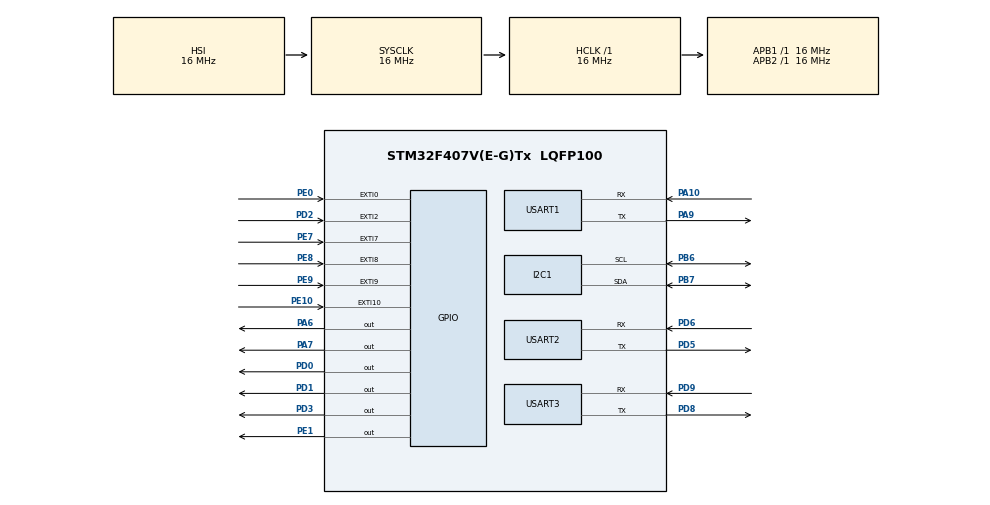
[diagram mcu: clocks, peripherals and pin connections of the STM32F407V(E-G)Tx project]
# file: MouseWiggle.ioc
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Dma.Request0=USART1_RX
Dma.Request1=USART2_RX
Dma.USART1_RX.0.Direction=DMA_PERIPH_TO_MEMORY
Dma.USART1_RX.0.FIFOMode=DMA_FIFOMODE_DISABLE
Dma.USART1_RX.0.Instance=DMA2_Stream2
Dma.USART1_RX.0.MemDataAlignment=DMA_MDATAALIGN_BYTE
Dma.USART1_RX.0.MemInc=DMA_MINC_ENABLE
Dma.USART1_RX.0.Mode=DMA_CIRCULAR
Dma.USART1_RX.0.PeriphDataAlignment=DMA_PDATAALIGN_BYTE
Dma.USART1_RX.0.PeriphInc=DMA_PINC_DISABLE
Dma.USART1_RX.0.Priority=DMA_PRIORITY_HIGH
Dma.USART2_RX.1.Direction=DMA_PERIPH_TO_MEMORY
Dma.USART2_RX.1.FIFOMode=DMA_FIFOMODE_DISABLE
Dma.USART2_RX.1.Instance=DMA1_Stream5
Dma.USART2_RX.1.MemDataAlignment=DMA_MDATAALIGN_BYTE
Dma.USART2_RX.1.MemInc=DMA_MINC_ENABLE
Dma.USART2_RX.1.Mode=DMA_CIRCULAR
Dma.USART2_RX.1.PeriphDataAlignment=DMA_PDATAALIGN_BYTE
Dma.USART2_RX.1.PeriphInc=DMA_PINC_DISABLE
Dma.USART2_RX.1.Priority=DMA_PRIORITY_HIGH
FREERTOS.Tasks01=defaultTask,0,128,StartDefaultTask,Default,NULL,Dynamic,NULL,NULL
FREERTOS.configUSE_NEWLIB_REENTRANT=1
I2C1.I2C_Mode=I2C_Fast
Mcu.Family=STM32F4
Mcu.Name=STM32F407V(E-G)Tx
Mcu.Package=LQFP100
NVIC.DMA1_Stream5_IRQn=true\:5\:0\:false\:false\:true\:true\:false\:true\:true
NVIC.DMA2_Stream2_IRQn=true\:5\:0\:false\:false\:true\:true\:false\:true\:true
NVIC.EXTI0_IRQn=true\:5\:0\:false\:false\:true\:true\:true\:true\:true
NVIC.EXTI15_10_IRQn=true\:5\:0\:false\:false\:true\:true\:true\:true\:true
NVIC.EXTI2_IRQn=true\:5\:0\:false\:false\:true\:true\:true\:true\:true
NVIC.EXTI9_5_IRQn=true\:5\:0\:false\:false\:true\:true\:true\:true\:true
NVIC.PriorityGroup=NVIC_PRIORITYGROUP_4
NVIC.TIM1_UP_TIM10_IRQn=true\:15\:0\:false\:false\:true\:false\:false\:true\:true
NVIC.TimeBase=TIM1_UP_TIM10_IRQn
NVIC.TimeBaseIP=TIM1
NVIC.USART1_IRQn=true\:5\:0\:false\:false\:true\:true\:true\:true\:true
NVIC.USART2_IRQn=true\:5\:0\:false\:false\:true\:true\:true\:true\:true
PA10.Mode=Asynchronous
PA10.Signal=USART1_RX
PA6.Signal=GPIO_Output
PA7.Signal=GPIO_Output
PA9.Mode=Asynchronous
PA9.Signal=USART1_TX
PB6.Mode=I2C
PB6.Signal=I2C1_SCL
PB7.Mode=I2C
PB7.Signal=I2C1_SDA
PD0.Signal=GPIO_Output
PD1.Signal=GPIO_Output
PD2.GPIO_ModeDefaultEXTI=GPIO_MODE_IT_RISING_FALLING
PD2.Signal=GPXTI2
PD3.Signal=GPIO_Output
PD5.Mode=Asynchronous
PD5.Signal=USART2_TX
PD6.Mode=Asynchronous
PD6.Signal=USART2_RX
PD8.Mode=Asynchronous
PD8.Signal=USART3_TX
PD9.Mode=Asynchronous
PD9.Signal=USART3_RX
PE0.GPIO_ModeDefaultEXTI=GPIO_MODE_IT_RISING_FALLING
PE0.Signal=GPXTI0
PE1.Signal=GPIO_Output
PE10.GPIO_ModeDefaultEXTI=GPIO_MODE_IT_RISING_FALLING
PE10.Signal=GPXTI10
PE7.Signal=GPXTI7
PE8.Signal=GPXTI8
PE9.Signal=GPXTI9
ProjectManager.HeapSize=0x200
ProjectManager.StackSize=0x400
ProjectManager.TargetToolchain=STM32CubeIDE
RCC.AHBFreq_Value=16000000
RCC.APB1Freq_Value=16000000
RCC.APB2Freq_Value=16000000
RCC.CortexFreq_Value=16000000
RCC.HSE_VALUE=25000000
RCC.HSI_VALUE=16000000
RCC.LSE_VALUE=32768
RCC.SYSCLKFreq_VALUE=16000000
RCC.VCOOutputFreq_Value=192000000
USART1.VirtualMode=VM_ASYNC
USART2.VirtualMode=VM_ASYNC
USART3.VirtualMode=VM_ASYNC
VP_FREERTOS_VS_CMSIS_V1.Mode=CMSIS_V1
VP_RNG_VS_RNG.Mode=RNG_Activate
VP_SYS_VS_tim1.Mode=TIM1
board=custom

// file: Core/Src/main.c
/* USER CODE BEGIN Header */
/**
  ******************************************************************************
  * @file           : main.c
  * @brief          : Main program body
  ******************************************************************************
  * @attention
  *
  * Copyright (c) 2022 STMicroelectronics.
  * All rights reserved.
  *
  * This software is licensed under terms that can be found in the LICENSE file
  * in the root directory of this software component.
  * If no LICENSE file comes with this software, it is provided AS-IS.
  *
  ******************************************************************************
  */
/* USER CODE END Header */
#include "main.h"
#include "cmsis_os.h"

/* USER CODE BEGIN Includes */
#include <uart.h>
#include <bt_api.h>
#include <stdio.h>
#include <ssd1306.h>
#include <oled_io.h>
#include "tasks.h"
#include "bitmasks.h"
/* USER CODE END Includes */

I2C_HandleTypeDef hi2c1;

RNG_HandleTypeDef hrng;

UART_HandleTypeDef huart1;
UART_HandleTypeDef huart2;
UART_HandleTypeDef huart3;
DMA_HandleTypeDef hdma_usart1_rx;
DMA_HandleTypeDef hdma_usart2_rx;

osThreadId defaultTaskHandle;
/* USER CODE BEGIN PV */

osThreadId wiggleTaskHandle;
osThreadId wiggleTaskUart1Handle;
uint16_t inputSelect = 0;
volatile uint16_t toggle;
InterruptBitMask moduleConnectMask;

//#ifdef __GNUC__
//#define PUTCHAR_PROTOTYPE int __io_putchar(int ch)
//#else
//#define PUTCHAR_PROTOTYPE int fputc(int ch, FILE *f)
//#endif
//
//PUTCHAR_PROTOTYPE
//{
//  HAL_UART_Transmit(&huart2, (uint8_t *)&ch, 1, HAL_MAX_DELAY);
//  return ch;
//}

int __io_putchar(int ch)
{
 // Write character to ITM ch.0
 ITM_SendChar(ch);
 return(ch);
}

/* USER CODE END PV */

void SystemClock_Config(void);
static void MX_GPIO_Init(void);
static void MX_DMA_Init(void);
static void MX_USART1_UART_Init(void);
static void MX_USART2_UART_Init(void);
static void MX_USART3_UART_Init(void);
static void MX_I2C1_Init(void);
static void MX_RNG_Init(void);
void StartDefaultTask(void const * argument);

int main(void)
{

  /* MCU Configuration--------------------------------------------------------*/

  /* Reset of all peripherals, Initializes the Flash interface and the Systick. */
  HAL_Init();

  /* Configure the system clock */
  SystemClock_Config();

  /* Initialize all configured peripherals */
  MX_GPIO_Init();
  MX_DMA_Init();
  MX_USART1_UART_Init();
  MX_USART2_UART_Init();
  MX_USART3_UART_Init();
  MX_I2C1_Init();
  MX_RNG_Init();
  /* USER CODE BEGIN 2 */

    SSD1306_Init();
    SSD1306_Clear();
    print_oled(OLED_DATA, "hello!");

//    NVIC_PriorityGroupConfig( NVIC_PriorityGroup_4 );
  /* USER CODE END 2 */

  /* Create the thread(s) */
  /* definition and creation of defaultTask */
  osThreadDef(defaultTask, StartDefaultTask, osPriorityNormal, 0, 32);
  defaultTaskHandle = osThreadCreate(osThread(defaultTask), NULL);

  /* USER CODE BEGIN RTOS_THREADS */
  /* add threads, ... */
//   osThreadDef(wiggleTask, StartWiggleTask, osPriorityNormal, 1, 2048);
//   wiggleTaskHandle = osThreadCreate(osThread(wiggleTask), NULL);

  osThreadDef(wiggleTaskUart1, WiggleTaskUart1, osPriorityNormal, 1, 2048);
  wiggleTaskUart1Handle = osThreadCreate(osThread(wiggleTaskUart1), NULL);

  /* USER CODE END RTOS_THREADS */

  /* Start scheduler */
  osKernelStart();

  /* We should never get here as control is now taken by the scheduler */
  /* Infinite loop */
  while (1)
  {

  }
}

void SystemClock_Config(void)
{
  RCC_OscInitTypeDef RCC_OscInitStruct = {0};
  RCC_ClkInitTypeDef RCC_ClkInitStruct = {0};

  /** Configure the main internal regulator output voltage
  */
  __HAL_RCC_PWR_CLK_ENABLE();
  __HAL_PWR_VOLTAGESCALING_CONFIG(PWR_REGULATOR_VOLTAGE_SCALE1);

  /** Initializes the RCC Oscillators according to the specified parameters
  * in the RCC_OscInitTypeDef structure.
  */
  RCC_OscInitStruct.OscillatorType = RCC_OSCILLATORTYPE_HSI;
  RCC_OscInitStruct.HSIState = RCC_HSI_ON;
  RCC_OscInitStruct.HSICalibrationValue = RCC_HSICALIBRATION_DEFAULT;
  RCC_OscInitStruct.PLL.PLLState = RCC_PLL_ON;
  RCC_OscInitStruct.PLL.PLLSource = RCC_PLLSOURCE_HSI;
  RCC_OscInitStruct.PLL.PLLM = 16;
  RCC_OscInitStruct.PLL.PLLN = 192;
  RCC_OscInitStruct.PLL.PLLP = RCC_PLLP_DIV2;
  RCC_OscInitStruct.PLL.PLLQ = 4;
  if (HAL_RCC_OscConfig(&RCC_OscInitStruct) != HAL_OK)
  {
    Error_Handler();
  }

  /** Initializes the CPU, AHB and APB buses clocks
  */
  RCC_ClkInitStruct.ClockType = RCC_CLOCKTYPE_HCLK|RCC_CLOCKTYPE_SYSCLK
                              |RCC_CLOCKTYPE_PCLK1|RCC_CLOCKTYPE_PCLK2;
  RCC_ClkInitStruct.SYSCLKSource = RCC_SYSCLKSOURCE_HSI;
  RCC_ClkInitStruct.AHBCLKDivider = RCC_SYSCLK_DIV1;
  RCC_ClkInitStruct.APB1CLKDivider = RCC_HCLK_DIV1;
  RCC_ClkInitStruct.APB2CLKDivider = RCC_HCLK_DIV1;

  if (HAL_RCC_ClockConfig(&RCC_ClkInitStruct, FLASH_LATENCY_0) != HAL_OK)
  {
    Error_Handler();
  }
}

static void MX_I2C1_Init(void)
{

  hi2c1.Instance = I2C1;
  hi2c1.Init.ClockSpeed = 400000;
  hi2c1.Init.DutyCycle = I2C_DUTYCYCLE_2;
  hi2c1.Init.OwnAddress1 = 0;
  hi2c1.Init.AddressingMode = I2C_ADDRESSINGMODE_7BIT;
  hi2c1.Init.DualAddressMode = I2C_DUALADDRESS_DISABLE;
  hi2c1.Init.OwnAddress2 = 0;
  hi2c1.Init.GeneralCallMode = I2C_GENERALCALL_DISABLE;
  hi2c1.Init.NoStretchMode = I2C_NOSTRETCH_DISABLE;
  if (HAL_I2C_Init(&hi2c1) != HAL_OK)
  {
    Error_Handler();
  }

}

static void MX_RNG_Init(void)
{

  hrng.Instance = RNG;
  if (HAL_RNG_Init(&hrng) != HAL_OK)
  {
    Error_Handler();
  }

}

static void MX_USART1_UART_Init(void)
{

  huart1.Instance = USART1;
  huart1.Init.BaudRate = 115200;
  huart1.Init.WordLength = UART_WORDLENGTH_8B;
  huart1.Init.StopBits = UART_STOPBITS_1;
  huart1.Init.Parity = UART_PARITY_NONE;
  huart1.Init.Mode = UART_MODE_TX_RX;
  huart1.Init.HwFlowCtl = UART_HWCONTROL_NONE;
  huart1.Init.OverSampling = UART_OVERSAMPLING_16;
  if (HAL_UART_Init(&huart1) != HAL_OK)
  {
    Error_Handler();
  }

}

static void MX_USART2_UART_Init(void)
{

  huart2.Instance = USART2;
  huart2.Init.BaudRate = 115200;
  huart2.Init.WordLength = UART_WORDLENGTH_8B;
  huart2.Init.StopBits = UART_STOPBITS_1;
  huart2.Init.Parity = UART_PARITY_NONE;
  huart2.Init.Mode = UART_MODE_TX_RX;
  huart2.Init.HwFlowCtl = UART_HWCONTROL_NONE;
  huart2.Init.OverSampling = UART_OVERSAMPLING_16;
  if (HAL_UART_Init(&huart2) != HAL_OK)
  {
    Error_Handler();
  }

}

static void MX_USART3_UART_Init(void)
{

  huart3.Instance = USART3;
  huart3.Init.BaudRate = 115200;
  huart3.Init.WordLength = UART_WORDLENGTH_8B;
  huart3.Init.StopBits = UART_STOPBITS_1;
  huart3.Init.Parity = UART_PARITY_NONE;
  huart3.Init.Mode = UART_MODE_TX_RX;
  huart3.Init.HwFlowCtl = UART_HWCONTROL_NONE;
  huart3.Init.OverSampling = UART_OVERSAMPLING_16;
  if (HAL_UART_Init(&huart3) != HAL_OK)
  {
    Error_Handler();
  }

}

static void MX_DMA_Init(void)
{

  /* DMA controller clock enable */
  __HAL_RCC_DMA2_CLK_ENABLE();
  __HAL_RCC_DMA1_CLK_ENABLE();

  /* DMA interrupt init */
  /* DMA1_Stream5_IRQn interrupt configuration */
  HAL_NVIC_SetPriority(DMA1_Stream5_IRQn, 5, 0);
  HAL_NVIC_EnableIRQ(DMA1_Stream5_IRQn);
  /* DMA2_Stream2_IRQn interrupt configuration */
  HAL_NVIC_SetPriority(DMA2_Stream2_IRQn, 5, 0);
  HAL_NVIC_EnableIRQ(DMA2_Stream2_IRQn);

}

static void MX_GPIO_Init(void)
{
  GPIO_InitTypeDef GPIO_InitStruct = {0};

  /* GPIO Ports Clock Enable */
  __HAL_RCC_GPIOA_CLK_ENABLE();
  __HAL_RCC_GPIOE_CLK_ENABLE();
  __HAL_RCC_GPIOD_CLK_ENABLE();
  __HAL_RCC_GPIOB_CLK_ENABLE();

  /*Configure GPIO pin Output Level */
  HAL_GPIO_WritePin(GPIOA, GPIO_PIN_6|GPIO_PIN_7, GPIO_PIN_RESET);

  /*Configure GPIO pin Output Level */
  HAL_GPIO_WritePin(GPIOD, GPIO_PIN_0|GPIO_PIN_1|GPIO_PIN_3, GPIO_PIN_RESET);

  /*Configure GPIO pin Output Level */
  HAL_GPIO_WritePin(GPIOE, GPIO_PIN_1, GPIO_PIN_RESET);

  /*Configure GPIO pins : PA6 PA7 */
  GPIO_InitStruct.Pin = GPIO_PIN_6|GPIO_PIN_7;
  GPIO_InitStruct.Mode = GPIO_MODE_OUTPUT_PP;
  GPIO_InitStruct.Pull = GPIO_NOPULL;
  GPIO_InitStruct.Speed = GPIO_SPEED_FREQ_LOW;
  HAL_GPIO_Init(GPIOA, &GPIO_InitStruct);

  /*Configure GPIO pins : PE7 PE8 PE9 */
  GPIO_InitStruct.Pin = GPIO_PIN_7|GPIO_PIN_8|GPIO_PIN_9;
  GPIO_InitStruct.Mode = GPIO_MODE_IT_RISING;
  GPIO_InitStruct.Pull = GPIO_NOPULL;
  HAL_GPIO_Init(GPIOE, &GPIO_InitStruct);

  /*Configure GPIO pins : PE10 PE0 */
  GPIO_InitStruct.Pin = GPIO_PIN_10|GPIO_PIN_0;
  GPIO_InitStruct.Mode = GPIO_MODE_IT_RISING_FALLING;
  GPIO_InitStruct.Pull = GPIO_NOPULL;
  HAL_GPIO_Init(GPIOE, &GPIO_InitStruct);

  /*Configure GPIO pins : PD0 PD1 PD3 */
  GPIO_InitStruct.Pin = GPIO_PIN_0|GPIO_PIN_1|GPIO_PIN_3;
  GPIO_InitStruct.Mode = GPIO_MODE_OUTPUT_PP;
  GPIO_InitStruct.Pull = GPIO_NOPULL;
  GPIO_InitStruct.Speed = GPIO_SPEED_FREQ_LOW;
  HAL_GPIO_Init(GPIOD, &GPIO_InitStruct);

  /*Configure GPIO pin : PD2 */
  GPIO_InitStruct.Pin = GPIO_PIN_2;
  GPIO_InitStruct.Mode = GPIO_MODE_IT_RISING_FALLING;
  GPIO_InitStruct.Pull = GPIO_NOPULL;
  HAL_GPIO_Init(GPIOD, &GPIO_InitStruct);

  /*Configure GPIO pin : PE1 */
  GPIO_InitStruct.Pin = GPIO_PIN_1;
  GPIO_InitStruct.Mode = GPIO_MODE_OUTPUT_PP;
  GPIO_InitStruct.Pull = GPIO_NOPULL;
  GPIO_InitStruct.Speed = GPIO_SPEED_FREQ_LOW;
  HAL_GPIO_Init(GPIOE, &GPIO_InitStruct);

  /* EXTI interrupt init*/
  HAL_NVIC_SetPriority(EXTI0_IRQn, 5, 0);
  HAL_NVIC_EnableIRQ(EXTI0_IRQn);

  HAL_NVIC_SetPriority(EXTI2_IRQn, 5, 0);
  HAL_NVIC_EnableIRQ(EXTI2_IRQn);

  HAL_NVIC_SetPriority(EXTI9_5_IRQn, 5, 0);
  HAL_NVIC_EnableIRQ(EXTI9_5_IRQn);

  HAL_NVIC_SetPriority(EXTI15_10_IRQn, 5, 0);
  HAL_NVIC_EnableIRQ(EXTI15_10_IRQn);

}

/* USER CODE BEGIN 4 */

void HAL_GPIO_EXTI_Callback(uint16_t GPIO_Pin)
{
    switch (GPIO_Pin)
    {
    case GPIO_PIN_0:
        moduleConnectMask.btModule0ConnectPin = HAL_GPIO_ReadPin(GPIOE, GPIO_PIN_0);
        break;
    case GPIO_PIN_2:
        moduleConnectMask.btModule1ConnectPin = HAL_GPIO_ReadPin(GPIOD, GPIO_PIN_2);
        break;
    case GPIO_PIN_7:
        moduleConnectMask.btModule0TryConnect = HAL_GPIO_ReadPin(GPIOE, GPIO_PIN_7) & ~(moduleConnectMask.btModule0ConnectPin);
        break;
    case GPIO_PIN_8:
        moduleConnectMask.btModule1TryConnect = HAL_GPIO_ReadPin(GPIOE, GPIO_PIN_8) & ~(moduleConnectMask.btModule1ConnectPin);
        break;
    case GPIO_PIN_9:
        break;
    case GPIO_PIN_10:
        moduleConnectMask.idleEnablePin = HAL_GPIO_ReadPin(GPIOE, GPIO_PIN_10);
        HAL_ResumeTick();
        toggle = 1;
        break;
    default:
        break;
    }
}

/* USER CODE END 4 */

void StartDefaultTask(void const * argument)
{
  /* USER CODE BEGIN 5 */

    for(;;)
    {
        osDelay(1000);
    }
  /* USER CODE END 5 */
}

void HAL_TIM_PeriodElapsedCallback(TIM_HandleTypeDef *htim)
{
  if (htim->Instance == TIM1) {
    HAL_IncTick();
  }
}

void Error_Handler(void)
{
  __disable_irq();
  while (1)
  {
  }
}
